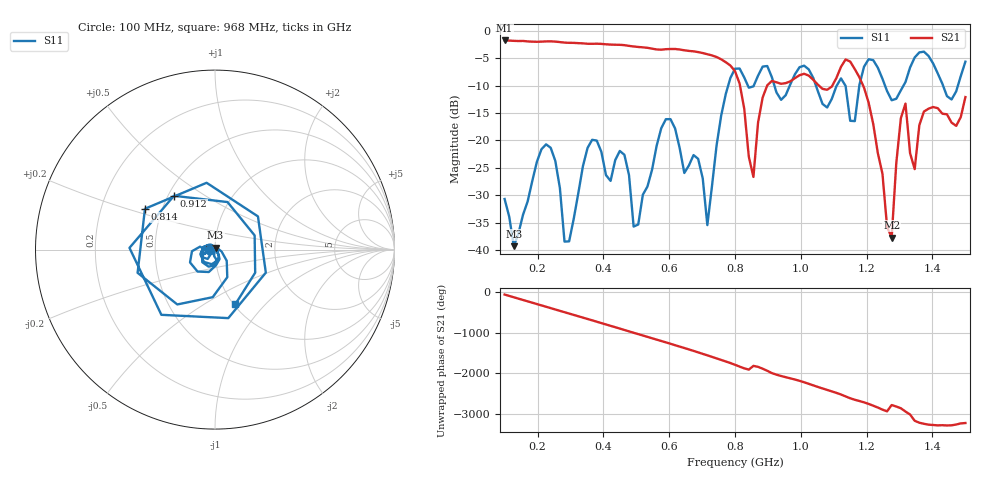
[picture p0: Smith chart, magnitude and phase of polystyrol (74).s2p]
! NanoVNA-App
! Date: 2025-09-26 09:42:27
! Start: 100MHz Stop: 1,5GHz Points: 101
! S-Parameter data: F S11 S21 S12 S22
# Hz S RI R 50
!  Frequency  S11_Real  S11_Imag  S21_Real  S21_Imag  S12_Real  S12_Imag  S22_Real  S22_Imag
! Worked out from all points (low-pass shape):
!   101 points, 100 MHz to 1.5 GHz, reference 50 ohm
!   highest |S21| = -1.79 dB at 100 MHz (marker M1); lowest = -37.7 dB at 1.276 GHz (marker M2)
!   |S21| within 3 dB of the highest: start of sweep to 743.3 MHz
!   lowest |S11| = -39.2 dB at 128 MHz (marker M3), VSWR 1.02, Z = 50.3 + j1.06 ohm
!   |S11| at or under -10 dB: start of sweep to 779.3 MHz; 1.046 GHz to 1.109 GHz (63.42 MHz wide, 5.89 % of centre); 1.256 GHz to 1.312 GHz (56.24 MHz wide, 4.38 % of centre)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
!   S12 and S22 are empty: the file has one direction only
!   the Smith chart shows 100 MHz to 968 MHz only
!   S11 on the Smith chart (normalised r, x): 100 MHz: 0.94, -0.01; 814 MHz: 0.40, +0.23; 912 MHz: 0.54, +0.37; 968 MHz: 1.02, -0.69
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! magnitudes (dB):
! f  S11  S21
! 100 MHz  -30.7  -1.8
! 128 MHz  -39.2  -1.9
! 212 MHz  -21.6  -2.0
! 282 MHz  -38.4  -2.2
! 338 MHz  -24.7  -2.3
! 464 MHz  -22.6  -2.6
! 506 MHz  -35.3  -3.0
! 576 MHz  -17.8  -3.5
! 688 MHz  -23.3  -3.9
! 716 MHz  -35.4  -4.3
! 800 MHz  -6.9  -7.4
! 814 MHz  -6.9  -9.6
! 856 MHz  -10.1  -26.6
! 912 MHz  -8.5  -9.2
! 968 MHz  -9.8  -9.2
! 1.038 GHz  -8.6  -9.0
! 1.178 GHz  -9.9  -8.5
! 1.276 GHz  -12.7  -37.7
! 1.318 GHz  -9.4  -13.3
! 1.346 GHz  -4.9  -25.2
! 1.374 GHz  -3.8  -14.7
! 1.5 GHz  -5.7  -12.1
